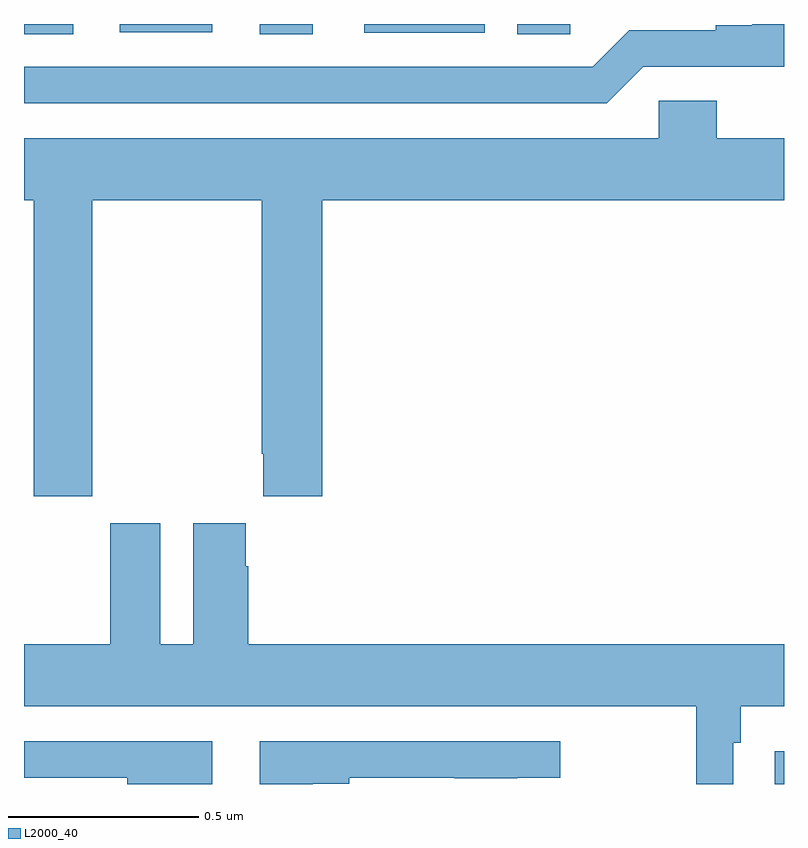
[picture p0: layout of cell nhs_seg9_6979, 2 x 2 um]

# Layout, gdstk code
import gdstk
lib = gdstk.Library(unit=1e-6, precision=1e-09)
def R(c, l, rs):  # rectangles x0, y0, x1, y1
    for r in rs: c.add(gdstk.rectangle(r[:2], r[2:], *l))
def P(c, l, *ps):  # polygons
    for p in ps: c.add(gdstk.Polygon(p, *l))
L2000_40 = (2000, 40)

nhs_seg9_6979 = lib.new_cell('nhs_seg9_6979')
R(nhs_seg9_6979, L2000_40, [(199.976,1245.5,200,1245.586), (198,1247.473,198.13,1247.5), (198.62,1247.473,198.76,1247.5), (199.298,1247.473,199.437,1247.5), (198.896,1247.477,199.213,1247.5), (198.252,1247.478,198.496,1247.5)])
P(nhs_seg9_6979, L2000_40, [(199.629,1247.388),(200,1247.388),(200,1247.5),(199.916,1247.5),(199.916,1247.497),(199.82,1247.497),(199.82,1247.484),(199.593,1247.484),(199.497,1247.388),(198,1247.388),(198,1247.292),(199.533,1247.292)],
  [(198.18,1247.036),(198.625,1247.036),(198.625,1246.369),(198.629,1246.369),(198.629,1246.257),(198.785,1246.257),(198.785,1247.036),(200,1247.036),(200,1247.2),(199.823,1247.2),(199.823,1247.298),(199.671,1247.298),(199.671,1247.2),(198,1247.2),(198,1247.036),(198.025,1247.036),(198.025,1246.257),(198.18,1246.257)],
  [(198.583,1246.073),(198.583,1246.186),(198.446,1246.186),(198.446,1245.868),(198.358,1245.868),(198.358,1246.186),(198.227,1246.186),(198.227,1245.868),(198,1245.868),(198,1245.704),(199.769,1245.704),(199.769,1245.5),(199.866,1245.5),(199.866,1245.608),(199.886,1245.608),(199.886,1245.704),(200,1245.704),(200,1245.868),(198.59,1245.868),(198.59,1246.073)],
  [(198.496,1245.612),(198,1245.612),(198,1245.516),(198.272,1245.516),(198.272,1245.5),(198.496,1245.5)],
  [(198.76,1245.501),(198.856,1245.501),(198.856,1245.516),(199.132,1245.516),(199.132,1245.515),(199.298,1245.515),(199.298,1245.516),(199.411,1245.516),(199.411,1245.612),(198.62,1245.612),(198.62,1245.5),(198.76,1245.5)])

lib.write_gds('nhs_seg9_6979.gds')
